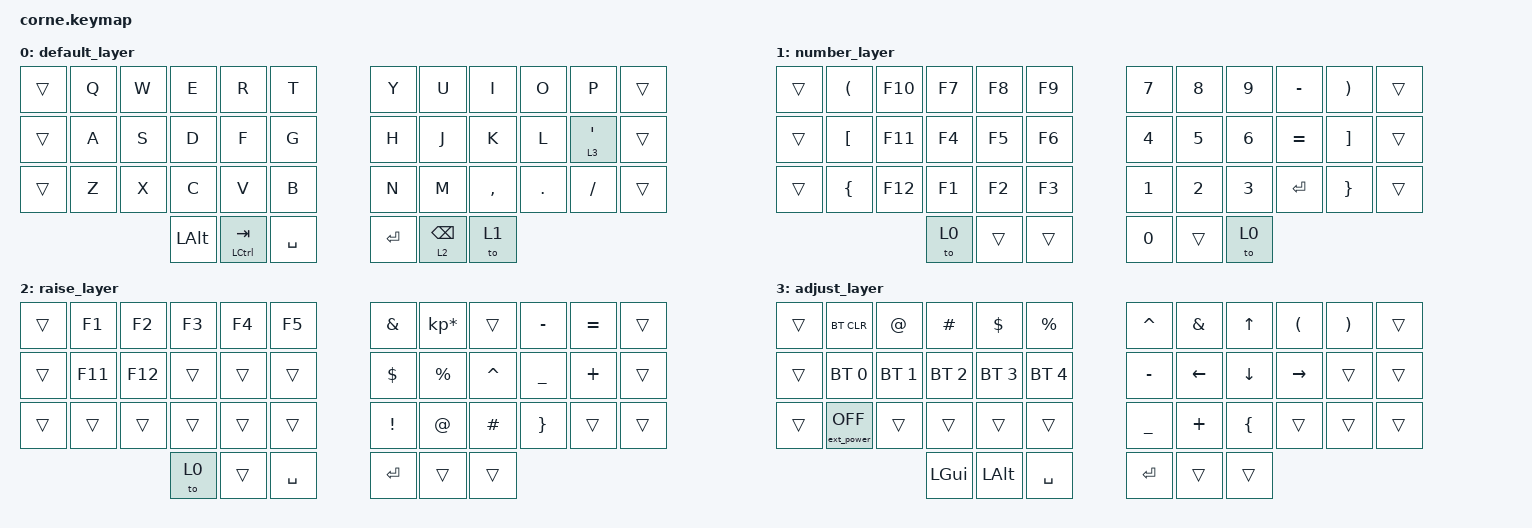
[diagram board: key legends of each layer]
/*
 * Copyright (c) 2020 The ZMK Contributors
 *
 * SPDX-License-Identifier: MIT
 */


//Positions
// -----------------------------------------------------------------------------------------
// |  0  |  1  |  2  |  3  |  4  |  5  |               |  6  |  7  |  8  |  9  |  10  |  11  |
// |  12 |  13 |  14 |  15 |  16 |  17 |               |  18 |  19 |  20 |  21 |  22  |  23  |
// |  24 |  25 |  26 |  27 |  28 |  29 |               |  30 |  31 |  32 |  33 |  34  |  35  |
//                         | 36 | 37 | 38 |         | 39 | 40 | 41 |




#include <behaviors.dtsi>
#include <dt-bindings/zmk/keys.h>
#include <dt-bindings/zmk/bt.h>

#include <dt-bindings/zmk/ext_power.h>






/ {

    combos {
        compatible = "zmk,combos";
        combo_esc {
            timeout-ms = <50>;
            key-positions = <1 2>;
            bindings = <&kp ESC>;
        };

        combo_del {
            timeout-ms = <50>;
            key-positions = <39 40>;
            bindings = <&kp DEL>;
        };

        
        combo_lshift {
            timeout-ms = <50>;
            key-positions = <25 26>;
            bindings = <&sk LSHIFT>;
        };
        
        combo_rshift {
            timeout-ms = <50>;
            key-positions = <33 34>;
            bindings = <&sk RSHIFT>;
        };
        
        combo_lgui {
            timeout-ms = <50>;
            key-positions = <36 37>;
            bindings = <&sk LGUI>;
        };
        
        
        combo_semi {
            timeout-ms = <50>;
            key-positions = <21 22>;
            bindings = <&kp SEMI>;
        };
        
    };




        keymap {
                compatible = "zmk,keymap";

                default_layer {
// -----------------------------------------------------------------------------------------
// | XXX   |  Q  |  W  |  E  |  R  |  T  |               |  Y  |  U   |  I  |  O  |  P     | XXXX |
// | XXX   |  A  |  S  |  D  |  F  |  G  |               |  H  |  J   |  K  |  L  |lay3/;  | XXXX |
// | XXX   |  Z  |  X  |  C  |  V  |  B  |               |  N  |  M   |  ,  |  .  |  /     | XXXX |
//                  | LALT | LCTL/TAB | SPC |         | ENT | BCK  | L1 |



                        bindings = <
   &trans         &kp Q     &kp W    &kp E  &kp R    &kp T                              &kp Y   &kp U  &kp I     &kp O   &kp P         &trans
   &trans         &kp A     &kp S    &kp D  &kp F    &kp G                              &kp H   &kp J  &kp K     &kp L   &lt 3 SQT     &trans
   &trans         &kp Z     &kp X    &kp C  &kp V    &kp B                              &kp N   &kp M  &kp COMMA &kp DOT &kp FSLH      &trans
                                    &kp LALT &mt LCTRL TAB &kp SPACE         &kp RET  &lt 2 BKSP   &to 1
                        >;
                };
                
                
                
                
                
                number_layer {
// -----------------------------------------------------------------------------------------
// |  XXX |  (  |  F10 | F7 |  F8 | F9  |                     | 7  |  8  |  9  |  -  |  ) | XXX |
// |  XXX |  [  |  F11 | F4 |  F5 | F6  |                     | 4  |  5  |  6  |  =  |  ] | XXX |
// |  XXX |  {  |  F12 | F1 |  F2 | F3  |                     | 1  |  2  |  3  | ENT |  } | XXX |
//                           | GUI |     | SPC |               | 0 |  BKSP  | L0 |


                        bindings = <                                                      
   &trans     &kp LPAR    &kp F10   &kp F7   &kp F8   &kp F9                              &kp N7    &kp N8   &kp N9   &kp MINUS    &kp RPAR       &trans
   &trans     &kp LBKT    &kp F11   &kp F4   &kp F5   &kp F6                              &kp N4    &kp N5   &kp N6   &kp EQUAL    &kp RBKT       &trans
   &trans     &kp LBRC    &kp F12   &kp F1   &kp F2   &kp F3                              &kp N1    &kp N2   &kp N3   &kp ENTER    &kp RBRC       &trans
                          	              &to 0     &trans       &trans              &kp N0   &trans    &to 0
                        >;
                };
                
                
                
                raise_layer {
// -----------------------------------------------------------------------------------------
// | GESC    |  F1   |  F2    |  F3  |  F4  |  F5  |                    |  F6  |  F7  |  F8  |  F9  |  F10  | BKSP |
// | TAB/CTRL|  F11  |  F12   |      |      |       |                   |  -   |  =   |  [   |  ]   |  \    |  `   |
// | SHFT    |       |        |      |      |       |                   |  _   |  +   |  {   |  }   | "|"   |  ~   |
//                                | GUI | ALT | SPC |          | ENT | LWR | RSE |


                        bindings = <
   &trans        &kp  F1   &kp F2    &kp F3   &kp F4   &kp F5                        &kp AMPS  &kp KP_MULTIPLY   &trans          &kp MINUS   &kp EQUAL  &trans
   &trans        &kp F11   &kp F12   &trans   &trans   &trans                        &kp DLLR  &kp PRCNT         &kp CARET       &kp UNDER   &kp PLUS   &trans
   &trans        &trans    &trans    &trans   &trans   &trans                        &kp EXCL  &kp AT            &kp HASH        &kp RBRC    &trans     &trans
                                       &to 0 &trans   &kp SPACE                &kp RET   &trans    &trans
                        >;
                };
                
                
                
                
                adjust_layer {
// -----------------------------------------------------------------------------------------
// | XXX      |  !  |  @  |  #  |  $  |  %  |      |  ^  |  &  |  *  |  (  |  )  | XXX |
// | XXX      |     |     |     |     |     |      |  -  |  =  |  [  |  ]  |  \  | XXX |
// | XXX      |     |     |     |     |     |      |  _  |  +  |  {  |  }  | "|" | XXX |
//                    | GUI |     | SPC |   | ENT |     | ALT |


                        bindings = <
   &trans          &bt BT_CLR     &kp AT       &kp HASH     &kp DLLR     &kp PRCNT         &kp CARET &kp AMPS  &kp UP          &kp LPAR  &kp RPAR  &trans
   &trans          &bt BT_SEL 0   &bt BT_SEL 1 &bt BT_SEL 2 &bt BT_SEL 3 &bt BT_SEL 4      &kp MINUS &kp LEFT  &kp DOWN        &kp RIGHT &trans    &trans
   &trans          &ext_power     EP_OFF       &trans       &trans       &trans       &trans            &kp UNDER &kp PLUS  &kp LBRC        &trans    &trans    &trans
                              &kp LGUI     &kp LALT       &kp SPACE    &kp RET           &trans    &trans
                        >;
                };                
               




        };
};
